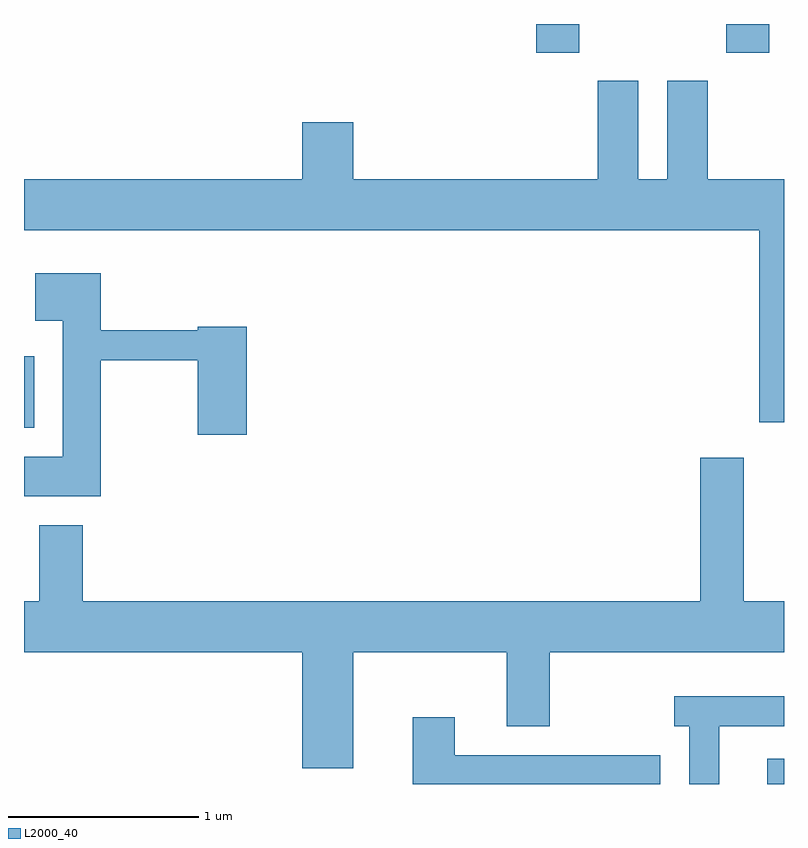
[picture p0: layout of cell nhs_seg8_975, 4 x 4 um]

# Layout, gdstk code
import gdstk
lib = gdstk.Library(unit=1e-6, precision=1e-09)
def R(c, l, rs):  # rectangles x0, y0, x1, y1
    for r in rs: c.add(gdstk.rectangle(r[:2], r[2:], *l))
def P(c, l, *ps):  # polygons
    for p in ps: c.add(gdstk.Polygon(p, *l))
L2000_40 = (2000, 40)

nhs_seg8_975 = lib.new_cell('nhs_seg8_975')
R(nhs_seg8_975, L2000_40, [(217.523,1882.342,217.611,1882.474), (213.611,1884.216,213.664,1884.594), (216.306,1886.191,216.534,1886.342), (217.306,1886.191,217.534,1886.342)])
P(nhs_seg8_975, L2000_40, [(217.611,1885.524),(217.209,1885.524),(217.209,1886.044),(216.996,1886.044),(216.996,1885.524),(216.844,1885.524),(216.844,1886.044),(216.631,1886.044),(216.631,1885.524),(215.344,1885.524),(215.344,1885.824),(215.076,1885.824),(215.076,1885.524),(213.611,1885.524),(213.611,1885.256),(217.481,1885.256),(217.481,1884.246),(217.611,1884.246)],
  [(214.014,1884.571),(214.526,1884.571),(214.526,1884.181),(214.784,1884.181),(214.784,1884.749),(214.526,1884.749),(214.526,1884.729),(214.014,1884.729),(214.014,1885.029),(213.671,1885.029),(213.671,1884.781),(213.816,1884.781),(213.816,1884.064),(213.611,1884.064),(213.611,1883.856),(214.014,1883.856)],
  [(215.344,1883.036),(216.151,1883.036),(216.151,1882.646),(216.379,1882.646),(216.379,1883.036),(217.611,1883.036),(217.611,1883.304),(217.399,1883.304),(217.399,1884.059),(217.171,1884.059),(217.171,1883.304),(213.919,1883.304),(213.919,1883.704),(213.691,1883.704),(213.691,1883.304),(213.611,1883.304),(213.611,1883.036),(215.076,1883.036),(215.076,1882.426),(215.344,1882.426)],
  [(217.269,1882.646),(217.611,1882.646),(217.611,1882.804),(217.033,1882.804),(217.033,1882.646),(217.111,1882.646),(217.111,1882.342),(217.269,1882.342)],
  [(216.959,1882.494),(215.879,1882.494),(215.879,1882.694),(215.656,1882.694),(215.656,1882.342),(216.959,1882.342)])

lib.write_gds('nhs_seg8_975.gds')
